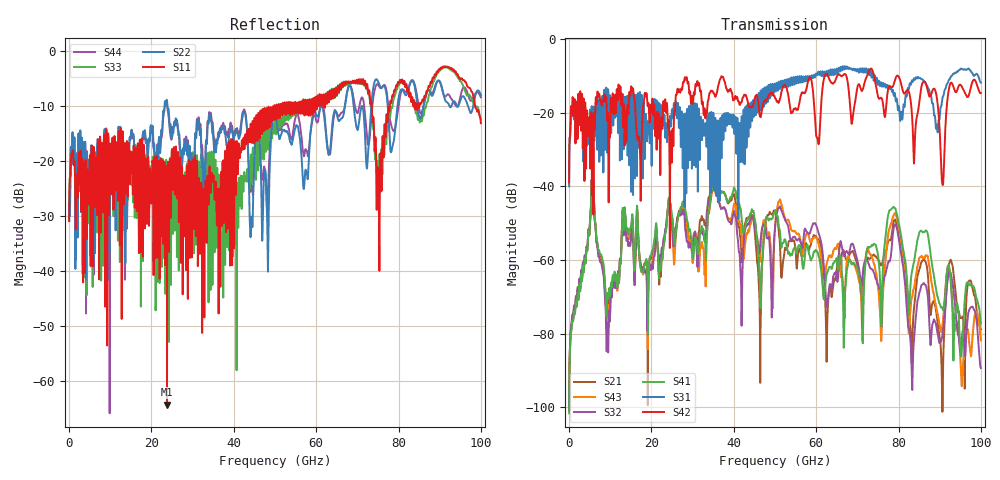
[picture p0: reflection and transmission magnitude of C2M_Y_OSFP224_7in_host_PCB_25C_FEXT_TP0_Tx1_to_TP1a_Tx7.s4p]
# GHz S RI R 45
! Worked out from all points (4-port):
!   4000 points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, 25 MHz to 100 GHz, reference 45 ohm
!   strongest paths, dB at 25 MHz, 25.02 GHz, 50.02 GHz, 75.03 GHz, 100 GHz:
!     S42: -38.8, -30.3, -16.0, -15.6, -14.6
!     S31: -40.0, -19.0, -12.3, -12.3, -11.8
!     S41: -101.7, -48.1, -46.9, -58.8, -77.3
!     S32: -100.1, -51.2, -51.1, -66.7, -89.4
!     S43: -100.9, -50.9, -51.3, -67.3, -81.9
!     S21: -101.0, -48.3, -46.7, -59.8, -78.9
!   lowest |S11| = -64.2 dB at 23.8 GHz (marker M1), VSWR 1.00, Z = 45 + j0.0552 ohm
!   |S11| at or under -10 dB: start of sweep to 49.91 GHz; 73.5 GHz to 77.9 GHz (4.401 GHz wide, 5.81 % of centre); 98.56 GHz to end of sweep (the widest 3 of 31)
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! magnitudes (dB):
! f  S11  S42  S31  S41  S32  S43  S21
! 25 MHz  -30.9  -38.8  -40.0  -101.7  -100.1  -100.9  -101.0
! 5.65 GHz  -21.0  -23.1  -23.6  -44.5  -44.4  -44.4  -44.4
! 9.45 GHz  -15.5  -20.0  -13.9  -69.8  -81.6  -75.5  -71.3
! 23.8 GHz  -64.2  -17.5  -28.0  -48.5  -47.9  -48.2  -48.3
! 75.72 GHz  -19.4  -15.9  -11.6  -73.1  -68.2  -80.3  -61.5
! 79.15 GHz  -7.3  -11.0  -14.9  -45.9  -50.3  -47.3  -49.0
! 100 GHz  -13.2  -14.6  -11.8  -77.3  -89.4  -81.9  -78.9
